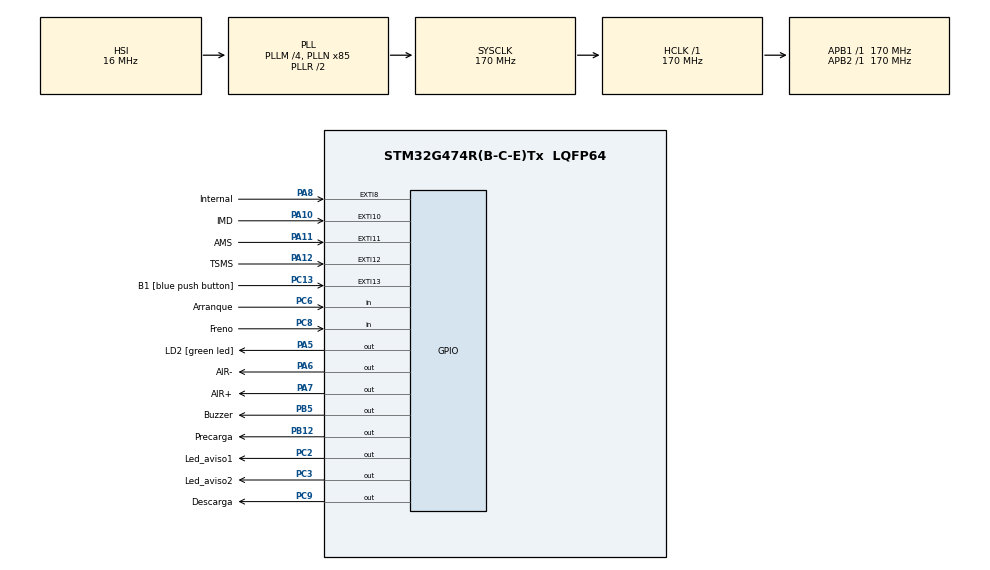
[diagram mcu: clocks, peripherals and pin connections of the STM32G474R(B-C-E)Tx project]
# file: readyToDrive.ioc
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Mcu.Family=STM32G4
Mcu.Name=STM32G474R(B-C-E)Tx
Mcu.Package=LQFP64
NUCLEO-G474RE.VCP=true
NVIC.EXTI15_10_IRQn=true\:0\:0\:false\:false\:true\:true\:true\:true
NVIC.EXTI9_5_IRQn=true\:0\:0\:false\:false\:true\:true\:true\:true
NVIC.PriorityGroup=NVIC_PRIORITYGROUP_4
PA10.GPIO_Label=IMD
PA10.Signal=GPXTI10
PA11.GPIO_Label=AMS
PA11.Signal=GPXTI11
PA12.GPIO_Label=TSMS
PA12.Signal=GPXTI12
PA13.GPIO_Label=T_SWDIO
PA13.Mode=Serial_Wire
PA13.Signal=SYS_JTMS-SWDIO
PA14.GPIO_Label=T_SWCLK
PA14.Mode=Serial_Wire
PA14.Signal=SYS_JTCK-SWCLK
PA2.Signal=LPUART1_TX
PA3.Signal=LPUART1_RX
PA5.GPIO_Label=LD2 [green led]
PA5.Signal=GPIO_Output
PA6.GPIO_Label=AIR-
PA6.Signal=GPIO_Output
PA7.GPIO_Label=AIR+
PA7.Signal=GPIO_Output
PA8.GPIO_Label=Internal
PA8.Signal=GPXTI8
PB12.GPIO_Label=Precarga
PB12.Signal=GPIO_Output
PB3.GPIO_Label=T_SWO
PB3.Signal=SYS_JTDO-SWO
PB5.GPIO_Label=Buzzer
PB5.Signal=GPIO_Output
PC13.GPIO_Label=B1 [blue push button]
PC13.Signal=GPXTI13
PC14-OSC32_IN.GPIO_Label=RCC_OSC32_IN
PC14-OSC32_IN.Signal=RCC_OSC32_IN
PC15-OSC32_OUT.GPIO_Label=RCC_OSC32_OUT
PC15-OSC32_OUT.Signal=RCC_OSC32_OUT
PC2.GPIO_Label=Led_aviso1
PC2.Signal=GPIO_Output
PC3.GPIO_Label=Led_aviso2
PC3.Signal=GPIO_Output
PC6.GPIO_Label=Arranque
PC6.Signal=GPIO_Input
PC8.GPIO_Label=Freno
PC8.Signal=GPIO_Input
PC9.GPIO_Label=Descarga
PC9.Signal=GPIO_Output
PF0-OSC_IN.GPIO_Label=RCC_OSC_IN
PF0-OSC_IN.Signal=RCC_OSC_IN
PF1-OSC_OUT.GPIO_Label=RCC_OSC_OUT
PF1-OSC_OUT.Signal=RCC_OSC_OUT
ProjectManager.HeapSize=0x200
ProjectManager.StackSize=0x400
ProjectManager.TargetToolchain=CMake
RCC.ADC12Freq_Value=170000000
RCC.ADC345Freq_Value=170000000
RCC.AHBFreq_Value=170000000
RCC.APB1Freq_Value=170000000
RCC.APB1TimFreq_Value=170000000
RCC.APB2Freq_Value=170000000
RCC.APB2TimFreq_Value=170000000
RCC.CortexFreq_Value=170000000
RCC.EXTERNAL_CLOCK_VALUE=12288000
RCC.HCLKFreq_Value=170000000
RCC.HSE_VALUE=24000000
RCC.HSI48_VALUE=48000000
RCC.HSI_VALUE=16000000
RCC.LSE_VALUE=32768
RCC.PLLM=RCC_PLLM_DIV4
RCC.PLLN=85
RCC.RTCClockSelection=RCC_RTCCLKSOURCE_LSE
RCC.SYSCLKFreq_VALUE=170000000
RCC.SYSCLKSource=RCC_SYSCLKSOURCE_PLLCLK
RCC.USBFreq_Value=170000000
RCC.VCOOutputFreq_Value=340000000
VP_NUCLEO-G474RE_VS_BSP_COMMON.Mode=COMMON
VP_SYS_VS_DBSignals.Mode=DisableDeadBatterySignals
board=NUCLEO-G474RE

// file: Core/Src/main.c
/* USER CODE BEGIN Header */
/**
  ******************************************************************************
  * @file           : main.c
  * @brief          : Main program body
  ******************************************************************************
  * @attention
  *
  * Copyright (c) 2025 STMicroelectronics.
  * All rights reserved.
  *
  * This software is licensed under terms that can be found in the LICENSE file
  * in the root directory of this software component.
  * If no LICENSE file comes with this software, it is provided AS-IS.
  *
  ******************************************************************************
  */
/* USER CODE END Header */
#include "main.h"

/* USER CODE BEGIN PD */
uint8_t estado_seguro = 0; // 1 = seguro, 0 = fallo
uint32_t startTick = 0;  // para medir s
uint8_t fase = 0;        // variable de fase: 0 = espera, 1 = arrancado
uint8_t precarga = 0;        // variable de fase: 0 = espera, 1 = arrancado

/* USER CODE END PD */

COM_InitTypeDef BspCOMInit;

void SystemClock_Config(void);
static void MX_GPIO_Init(void);

/* USER CODE BEGIN 0 */
//Funciones
void verificar_estado_LV();
void pitido(uint16_t duracion_ms);
void reinicio_sistema();
void pitido_start(uint16_t duracion_ms);
void pitido_update(void);
void pitido_stop(void);
void estado_inicial_HV();
void fase_precarga_inicio();

//types
typedef struct {
  uint8_t activo;
  uint32_t start_time;
  uint16_t duracion;
} Pitido_t;
Pitido_t buzzer = {0, 0, 0};

typedef enum {ESPERA, ARRANQUE, PRECARGA, FUNCIONANDO} Estado_t;
Estado_t estado = ESPERA;

/* USER CODE END 0 */

int main(void)
{

  /* MCU Configuration--------------------------------------------------------*/

  /* Reset of all peripherals, Initializes the Flash interface and the Systick. */
  HAL_Init();

  /* Configure the system clock */
  SystemClock_Config();

  /* Initialize all configured peripherals */
  MX_GPIO_Init();
  /* USER CODE BEGIN 2 */
  verificar_estado_LV();
  estado_inicial_HV();

  /* USER CODE END 2 */

  /* Initialize COM1 port (115200, 8 bits (7-bit data + 1 stop bit), no parity */
  BspCOMInit.BaudRate   = 115200;
  BspCOMInit.WordLength = COM_WORDLENGTH_8B;
  BspCOMInit.StopBits   = COM_STOPBITS_1;
  BspCOMInit.Parity     = COM_PARITY_NONE;
  BspCOMInit.HwFlowCtl  = COM_HWCONTROL_NONE;
  if (BSP_COM_Init(COM1, &BspCOMInit) != BSP_ERROR_NONE)
  {
    Error_Handler();
  }

  /* Infinite loop */

    /* USER CODE BEGIN 3 */
  while (1)
  {
    verificar_estado_LV();
    pitido_update();
    HAL_Delay(1);

    // Solo permitir arranque si sistema seguro y fase 0
    if (estado_seguro && estado == ESPERA)
    {
      GPIO_PinState btn1 = HAL_GPIO_ReadPin(Freno_GPIO_Port, Freno_Pin); //Estado del boton del freno
      GPIO_PinState btn2 = HAL_GPIO_ReadPin(Arranque_GPIO_Port, Arranque_Pin); //Estado del boton de arranque

      if (btn1 == GPIO_PIN_RESET && btn2 == GPIO_PIN_RESET)
      {
        if (startTick == 0) startTick = HAL_GetTick(); // Empezar a contar
        if (HAL_GetTick() - startTick >= 3000) // Mantener 3 segundos
        {
          estado = ARRANQUE;
          HAL_GPIO_WritePin(Led_aviso1_GPIO_Port, Led_aviso1_Pin, GPIO_PIN_SET); // LED arranque encendido
          pitido_start(1500); // pitido de 1500 ms (EV 4.12 en 2025_1.1 indica que el tiempo debe de ser de 1s a 3s entre 80 y 90 db)
        }
      }
      else
      {
        startTick = 0; // Reiniciar contador si se suelta un botón
      }
    }
    if (!buzzer.activo && estado == ARRANQUE) {
      estado = PRECARGA;  // Cambiar estado a precarga
      fase_precarga_inicio();
    }

  }

  /* USER CODE END 3 */
}

void SystemClock_Config(void)
{
  RCC_OscInitTypeDef RCC_OscInitStruct = {0};
  RCC_ClkInitTypeDef RCC_ClkInitStruct = {0};

  /** Configure the main internal regulator output voltage
  */
  HAL_PWREx_ControlVoltageScaling(PWR_REGULATOR_VOLTAGE_SCALE1_BOOST);

  /** Initializes the RCC Oscillators according to the specified parameters
  * in the RCC_OscInitTypeDef structure.
  */
  RCC_OscInitStruct.OscillatorType = RCC_OSCILLATORTYPE_HSI;
  RCC_OscInitStruct.HSIState = RCC_HSI_ON;
  RCC_OscInitStruct.HSICalibrationValue = RCC_HSICALIBRATION_DEFAULT;
  RCC_OscInitStruct.PLL.PLLState = RCC_PLL_ON;
  RCC_OscInitStruct.PLL.PLLSource = RCC_PLLSOURCE_HSI;
  RCC_OscInitStruct.PLL.PLLM = RCC_PLLM_DIV4;
  RCC_OscInitStruct.PLL.PLLN = 85;
  RCC_OscInitStruct.PLL.PLLP = RCC_PLLP_DIV2;
  RCC_OscInitStruct.PLL.PLLQ = RCC_PLLQ_DIV2;
  RCC_OscInitStruct.PLL.PLLR = RCC_PLLR_DIV2;
  if (HAL_RCC_OscConfig(&RCC_OscInitStruct) != HAL_OK)
  {
    Error_Handler();
  }

  /** Initializes the CPU, AHB and APB buses clocks
  */
  RCC_ClkInitStruct.ClockType = RCC_CLOCKTYPE_HCLK|RCC_CLOCKTYPE_SYSCLK
                              |RCC_CLOCKTYPE_PCLK1|RCC_CLOCKTYPE_PCLK2;
  RCC_ClkInitStruct.SYSCLKSource = RCC_SYSCLKSOURCE_PLLCLK;
  RCC_ClkInitStruct.AHBCLKDivider = RCC_SYSCLK_DIV1;
  RCC_ClkInitStruct.APB1CLKDivider = RCC_HCLK_DIV1;
  RCC_ClkInitStruct.APB2CLKDivider = RCC_HCLK_DIV1;

  if (HAL_RCC_ClockConfig(&RCC_ClkInitStruct, FLASH_LATENCY_4) != HAL_OK)
  {
    Error_Handler();
  }
}

static void MX_GPIO_Init(void)
{
  GPIO_InitTypeDef GPIO_InitStruct = {0};

  /* GPIO Ports Clock Enable */
  __HAL_RCC_GPIOC_CLK_ENABLE();
  __HAL_RCC_GPIOF_CLK_ENABLE();
  __HAL_RCC_GPIOA_CLK_ENABLE();
  __HAL_RCC_GPIOB_CLK_ENABLE();

  /*Configure GPIO pin Output Level */
  HAL_GPIO_WritePin(GPIOC, Led_aviso1_Pin|Led_aviso2_Pin|Descarga_Pin, GPIO_PIN_RESET);

  /*Configure GPIO pin Output Level */
  HAL_GPIO_WritePin(GPIOA, LD2_Pin|AIR__Pin|AIR_A7_Pin, GPIO_PIN_RESET);

  /*Configure GPIO pin Output Level */
  HAL_GPIO_WritePin(GPIOB, Precarga_Pin|Buzzer_Pin, GPIO_PIN_RESET);

  /*Configure GPIO pin : B1_Pin */
  GPIO_InitStruct.Pin = B1_Pin;
  GPIO_InitStruct.Mode = GPIO_MODE_IT_RISING;
  GPIO_InitStruct.Pull = GPIO_NOPULL;
  HAL_GPIO_Init(B1_GPIO_Port, &GPIO_InitStruct);

  /*Configure GPIO pins : Led_aviso1_Pin Led_aviso2_Pin Descarga_Pin */
  GPIO_InitStruct.Pin = Led_aviso1_Pin|Led_aviso2_Pin|Descarga_Pin;
  GPIO_InitStruct.Mode = GPIO_MODE_OUTPUT_PP;
  GPIO_InitStruct.Pull = GPIO_NOPULL;
  GPIO_InitStruct.Speed = GPIO_SPEED_FREQ_LOW;
  HAL_GPIO_Init(GPIOC, &GPIO_InitStruct);

  /*Configure GPIO pins : LD2_Pin AIR__Pin AIR_A7_Pin */
  GPIO_InitStruct.Pin = LD2_Pin|AIR__Pin|AIR_A7_Pin;
  GPIO_InitStruct.Mode = GPIO_MODE_OUTPUT_PP;
  GPIO_InitStruct.Pull = GPIO_NOPULL;
  GPIO_InitStruct.Speed = GPIO_SPEED_FREQ_LOW;
  HAL_GPIO_Init(GPIOA, &GPIO_InitStruct);

  /*Configure GPIO pins : Precarga_Pin Buzzer_Pin */
  GPIO_InitStruct.Pin = Precarga_Pin|Buzzer_Pin;
  GPIO_InitStruct.Mode = GPIO_MODE_OUTPUT_PP;
  GPIO_InitStruct.Pull = GPIO_NOPULL;
  GPIO_InitStruct.Speed = GPIO_SPEED_FREQ_LOW;
  HAL_GPIO_Init(GPIOB, &GPIO_InitStruct);

  /*Configure GPIO pins : Arranque_Pin Freno_Pin */
  GPIO_InitStruct.Pin = Arranque_Pin|Freno_Pin;
  GPIO_InitStruct.Mode = GPIO_MODE_INPUT;
  GPIO_InitStruct.Pull = GPIO_NOPULL;
  HAL_GPIO_Init(GPIOC, &GPIO_InitStruct);

  /*Configure GPIO pins : Internal_Pin IMD_Pin AMS_Pin TSMS_Pin */
  GPIO_InitStruct.Pin = Internal_Pin|IMD_Pin|AMS_Pin|TSMS_Pin;
  GPIO_InitStruct.Mode = GPIO_MODE_IT_RISING;
  GPIO_InitStruct.Pull = GPIO_PULLUP;
  HAL_GPIO_Init(GPIOA, &GPIO_InitStruct);

  /* EXTI interrupt init*/
  HAL_NVIC_SetPriority(EXTI9_5_IRQn, 0, 0);
  HAL_NVIC_EnableIRQ(EXTI9_5_IRQn);

  HAL_NVIC_SetPriority(EXTI15_10_IRQn, 0, 0);
  HAL_NVIC_EnableIRQ(EXTI15_10_IRQn);

}

/* USER CODE BEGIN 4 */
void pitido_start(uint16_t duracion_ms) {
  HAL_GPIO_WritePin(Buzzer_GPIO_Port, Buzzer_Pin, GPIO_PIN_SET);
  buzzer.start_time = HAL_GetTick();
  buzzer.duracion = duracion_ms;
  buzzer.activo = 1;
}

void pitido_update(void) {
  if (buzzer.activo && (HAL_GetTick() - buzzer.start_time >= buzzer.duracion)) {
    HAL_GPIO_WritePin(Buzzer_GPIO_Port, Buzzer_Pin, GPIO_PIN_RESET);
    buzzer.activo = 0;
  }
}
void pitido_stop(void) {
  HAL_GPIO_WritePin(Buzzer_GPIO_Port, Buzzer_Pin, GPIO_PIN_RESET);
  buzzer.activo = 0;
  buzzer.start_time = 0;
  buzzer.duracion = 0;
}

void verificar_estado_LV(void) {
  // Leer todos los pines
  GPIO_PinState estado_internal = HAL_GPIO_ReadPin(Internal_GPIO_Port, Internal_Pin);
  GPIO_PinState estado_imd      = HAL_GPIO_ReadPin(IMD_GPIO_Port, IMD_Pin);
  GPIO_PinState estado_ams      = HAL_GPIO_ReadPin(AMS_GPIO_Port, AMS_Pin);
  GPIO_PinState estado_tsms     = HAL_GPIO_ReadPin(TSMS_GPIO_Port, TSMS_Pin);

  // Comprobar si todo está seguro (reset = seguro)
  if (estado_internal == GPIO_PIN_RESET &&
      estado_imd == GPIO_PIN_RESET &&
      estado_ams == GPIO_PIN_RESET &&
      estado_tsms == GPIO_PIN_RESET)
  {
    estado_seguro = 1;
    HAL_GPIO_WritePin(Led_aviso2_GPIO_Port, Led_aviso2_Pin, GPIO_PIN_RESET); // LED apagado = seguro
  }
  else {
    reinicio_sistema();
  }
}

void reinicio_sistema() {
  estado_seguro = 0;
  startTick = 0;
  estado = ESPERA;

  pitido_stop();
  estado_inicial_HV();

  HAL_GPIO_WritePin(Led_aviso2_GPIO_Port, Led_aviso2_Pin, GPIO_PIN_SET); // LED encendido = fallo
  HAL_GPIO_WritePin(Led_aviso1_GPIO_Port, Led_aviso1_Pin, GPIO_PIN_RESET); // LED arranque apagado
}

void estado_inicial_HV() {
  HAL_GPIO_WritePin(Descarga_GPIO_Port,Descarga_Pin,RESET); //LED simula rele normalmente cerrado
  HAL_GPIO_WritePin(Precarga_GPIO_Port,Precarga_Pin,SET); //LED simula rele normalmente abierto
  HAL_GPIO_WritePin(AIR__GPIO_Port,AIR__Pin,SET); //LED simula rele normalmente abierto
  HAL_GPIO_WritePin(AIR_A7_GPIO_Port,AIR_A7_Pin,SET); //LED simula rele normalmente abierto
}

void fase_precarga_inicio()/*aqui es donde hay q activar los primeros reles*/ {
  HAL_GPIO_WritePin(Descarga_GPIO_Port,Descarga_Pin,SET); //Se abre rele de descarga
  HAL_GPIO_WritePin(AIR__GPIO_Port,AIR__Pin,RESET); //Se cierra el rele

}

void HAL_GPIO_EXTI_Callback(uint16_t GPIO_Pin)
{
  verificar_estado_LV();
}

/* USER CODE END 4 */

void Error_Handler(void)
{
  __disable_irq();
  while (1)
  {
  }
}
